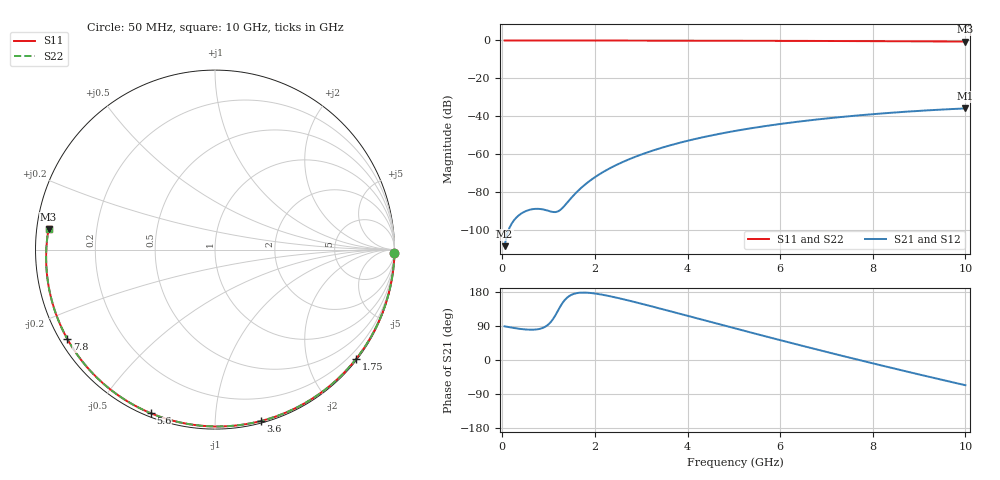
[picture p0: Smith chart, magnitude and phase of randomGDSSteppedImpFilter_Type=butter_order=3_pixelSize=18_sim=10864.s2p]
! freq	dB(S11)	phase(S11)	dB(S12)	phase(S12)
!  dB(S21)	phase(S21)	dB(S22)	phase(S22)
!S-par simulation data
#  GHz  S  DB  R 50
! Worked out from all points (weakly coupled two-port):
!   200 points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, 50 MHz to 10 GHz, reference 50 ohm
!   highest |S21| = -35.84 dB at 10 GHz (marker M1); lowest = -108.5 dB at 50 MHz (marker M2)
!   lowest |S11| = -0.6 dB at 10 GHz (marker M3), VSWR 29.54, Z = 1.7 + j3.05 ohm
!   |S11| at or under -10 dB: nowhere
!   |S22| runs from -0.6 to 0.0 dB; largest |S21 - S12| = 0
!   S11 on the Smith chart (normalised r, x): 50 MHz: open; 1.75 GHz: 0.03, -2.93; 3.6 GHz: 0.02, -1.30; 5.6 GHz: 0.02, -0.68; 7.8 GHz: 0.02, -0.28; 10 GHz: 0.03, +0.06
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0.05  -0.00 -1.1  -108.46 88.8  -108.46 88.8  -0.00 -1.1
0.4  -0.01 -8.8  -91.40 81.9  -91.40 81.9  -0.01 -8.8
0.8  -0.02 -17.5  -88.82 81.9  -88.82 81.9  -0.02 -17.5
1.6  -0.04 -34.6  -80.12 176.3  -80.12 176.3  -0.04 -34.6
1.75  -0.05 -37.7  -76.72 177.9  -76.72 177.9  -0.05 -37.8
1.9  -0.05 -40.9  -73.81 177.0  -73.81 177.0  -0.05 -40.9
2.05  -0.06 -44.0  -71.28 174.6  -71.28 174.6  -0.06 -44.0
2.25  -0.06 -48.1  -68.35 170.2  -68.35 170.2  -0.06 -48.1
2.45  -0.07 -52.2  -65.80 164.9  -65.80 164.9  -0.07 -52.2
2.9  -0.08 -61.3  -61.06 151.7  -61.06 151.7  -0.08 -61.3
3.4  -0.09 -71.1  -56.89 136.0  -56.89 136.0  -0.09 -71.1
3.6  -0.10 -75.0  -55.46 129.6  -55.46 129.6  -0.10 -75.0
4.3  -0.12 -88.1  -51.19 106.9  -51.19 106.9  -0.12 -88.2
5.05  -0.15 -101.8  -47.60 82.6  -47.60 82.6  -0.15 -101.8
5.6  -0.18 -111.5  -45.42 65.0  -45.42 65.0  -0.18 -111.5
6.15  -0.21 -121.0  -43.55 47.7  -43.55 47.7  -0.21 -121.0
6.7  -0.25 -130.3  -41.93 30.6  -41.93 30.6  -0.25 -130.3
7.25  -0.29 -139.6  -40.51 13.7  -40.51 13.7  -0.29 -139.6
7.8  -0.34 -148.8  -39.27 -2.9  -39.27 -2.9  -0.34 -148.9
8.35  -0.39 -158.1  -38.20 -19.2  -38.20 -19.2  -0.39 -158.1
9.2  -0.49 -172.7  -36.83 -43.9  -36.83 -43.9  -0.49 -172.8
10  -0.59 173.0  -35.84 -66.5  -35.84 -66.5  -0.59 173.0
